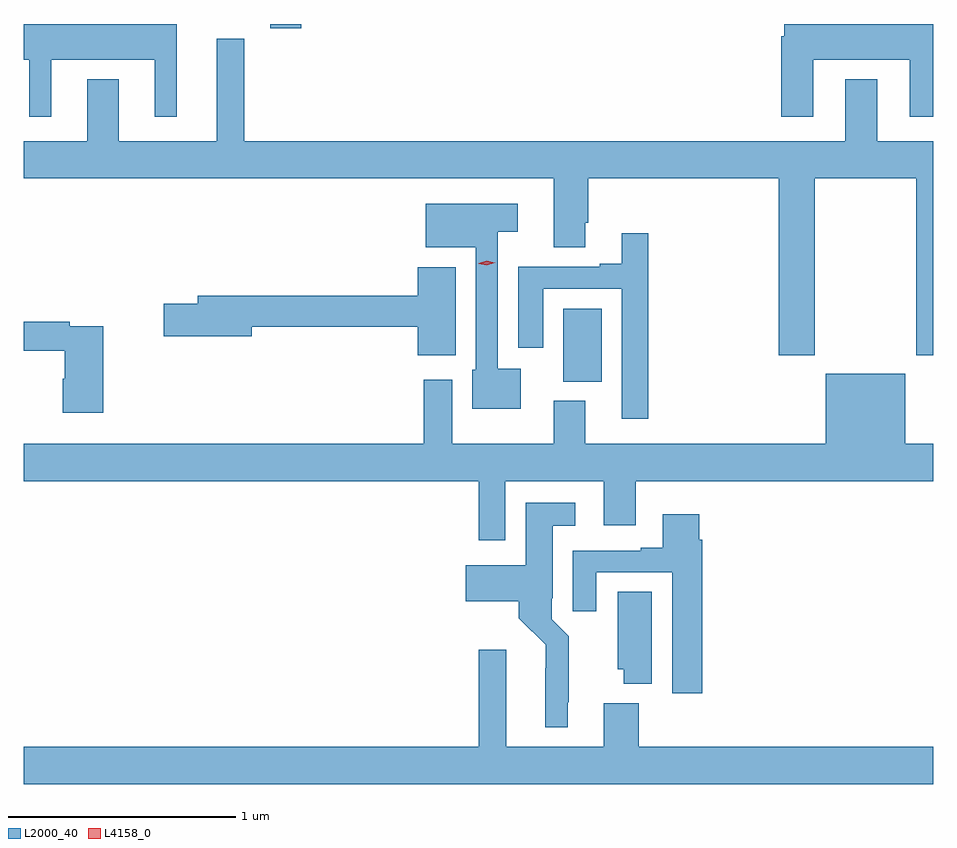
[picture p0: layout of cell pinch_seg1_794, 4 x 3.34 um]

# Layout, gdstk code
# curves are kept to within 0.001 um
import gdstk
lib = gdstk.Library(unit=1e-6, precision=1e-09)
def R(c, l, rs):  # rectangles x0, y0, x1, y1
    for r in rs: c.add(gdstk.rectangle(r[:2], r[2:], *l))
def P(c, l, *ps):  # polygons
    for p in ps: c.add(gdstk.Polygon(p, *l))
L2000_40 = (2000, 40)
L4158_0 = (4158, 0)

pinch_seg1_794 = lib.new_cell('pinch_seg1_794')
R(pinch_seg1_794, L2000_40, [(408.629,577.478,408.799,577.798), (407.342,579.033,407.477,579.051)])
P(pinch_seg1_794, L2000_40, [(409.729,578.894),(410.153,578.894),(410.153,578.643),(410.257,578.643),(410.257,579.051),(409.601,579.051),(409.601,578.998),(409.589,578.998),(409.589,578.643),(409.729,578.643)],
  [(406.378,578.894),(406.832,578.894),(406.832,578.643),(406.93,578.643),(406.93,579.051),(406.257,579.051),(406.257,578.894),(406.28,578.894),(406.28,578.643),(406.378,578.643)],
  [(409.737,578.372),(410.182,578.372),(410.182,577.593),(410.257,577.593),(410.257,578.536),(410.011,578.536),(410.011,578.809),(409.871,578.809),(409.871,578.536),(407.227,578.536),(407.227,578.986),(407.105,578.986),(407.105,578.536),(406.675,578.536),(406.675,578.809),(406.535,578.809),(406.535,578.536),(406.257,578.536),(406.257,578.372),(408.587,578.372),(408.587,578.068),(408.727,578.068),(408.727,578.176),(408.74,578.176),(408.74,578.372),(409.577,578.372),(409.577,577.593),(409.737,577.593)],
  [(408.442,577.534),(408.342,577.534),(408.342,578.138),(408.43,578.138),(408.43,578.26),(408.026,578.26),(408.026,578.07),(408.246,578.07),(408.246,577.53),(408.23,577.53),(408.23,577.358),(408.442,577.358)],
  [(409.004,578.131),(408.887,578.131),(408.887,577.996),(408.791,577.996),(408.791,577.983),(408.431,577.983),(408.431,577.626),(408.541,577.626),(408.541,577.887),(408.888,577.887),(408.888,577.314),(409.004,577.314)],
  [(408.157,577.981),(407.99,577.981),(407.99,577.856),(407.021,577.856),(407.021,577.82),(406.872,577.82),(406.872,577.678),(407.26,577.678),(407.26,577.72),(407.99,577.72),(407.99,577.595),(408.157,577.595)],
  [(406.607,577.722),(406.46,577.722),(406.46,577.742),(406.257,577.742),(406.257,577.614),(406.436,577.614),(406.436,577.491),(406.429,577.491),(406.429,577.341),(406.607,577.341)],
  [(408.375,577.04),(408.809,577.04),(408.809,576.846),(408.949,576.846),(408.949,577.04),(410.257,577.04),(410.257,577.204),(410.134,577.204),(410.134,577.513),(409.784,577.513),(409.784,577.204),(408.727,577.204),(408.727,577.393),(408.587,577.393),(408.587,577.204),(408.142,577.204),(408.142,577.486),(408.017,577.486),(408.017,577.204),(406.257,577.204),(406.257,577.04),(408.259,577.04),(408.259,576.78),(408.375,576.78)],
  [(408.649,576.067),(408.653,576.067),(408.653,576.358),(408.579,576.432),(408.579,576.526),(408.583,576.526),(408.583,576.845),(408.682,576.845),(408.682,576.946),(408.464,576.946),(408.464,576.67),(408.201,576.67),(408.201,576.512),(408.434,576.512),(408.434,576.438),(408.552,576.32),(408.551,575.957),(408.649,575.957)],
  [(409.241,576.782),(409.228,576.782),(409.228,576.895),(409.067,576.895),(409.067,576.748),(408.971,576.748),(408.971,576.735),(408.671,576.735),(408.671,576.468),(408.775,576.468),(408.775,576.639),(409.109,576.639),(409.109,576.108),(409.241,576.108)],
  [(409.018,576.554),(408.869,576.554),(408.869,576.213),(408.896,576.213),(408.896,576.149),(409.018,576.149)],
  [(410.257,575.872),(408.962,575.872),(408.962,576.064),(408.809,576.064),(408.809,575.872),(408.379,575.872),(408.379,576.298),(408.257,576.298),(408.257,575.872),(406.257,575.872),(406.257,575.708),(410.257,575.708)])
P(pinch_seg1_794, L4158_0, [(408.294,577.989),(408.258,577.997),(408.258,577.998),(408.258,577.998),(408.293,578.009),(408.329,578),(408.33,578),(408.329,578)])

lib.write_gds('pinch_seg1_794.gds')
